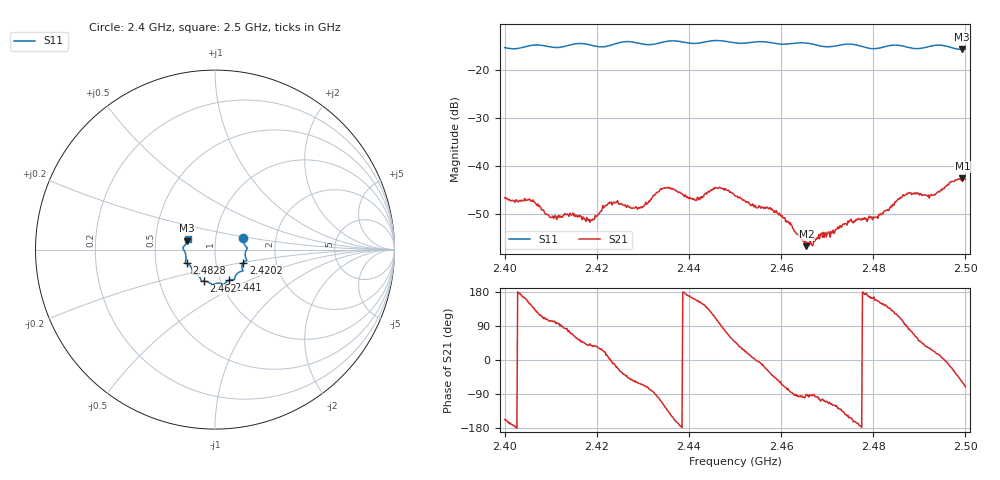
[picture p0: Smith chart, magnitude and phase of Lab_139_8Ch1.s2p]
# Hz S RI R 50
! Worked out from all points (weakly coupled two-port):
!   601 points, 2.4 GHz to 2.5 GHz, reference 50 ohm
!   highest |S21| = -42.64 dB at 2.4993 GHz (marker M1); lowest = -56.8 dB at 2.4655 GHz (marker M2)
!   lowest |S11| = -15.8 dB at 2.4992 GHz (marker M3), VSWR 1.39, Z = 36.4 + j3.7 ohm
!   |S11| at or under -10 dB: start of sweep to end of sweep
!   S12 and S22 are empty: the file has one direction only
!   S11 on the Smith chart (normalised r, x): 2.4 GHz: 1.36, +0.17; 2.4202 GHz: 1.36, -0.20; 2.441 GHz: 1.10, -0.39; 2.462 GHz: 0.83, -0.30; 2.4828 GHz: 0.72, -0.11; 2.5 GHz: 0.73, +0.09
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2.4e9  0.1581 0.0619  -0.00426 -0.0018  0 0  0 0
2.405833e9  0.1782 0.0116  -0.00352 0.00254  0 0  0 0
2.410167e9  0.1713 -0.00864  -0.000683 0.0028  0 0  0 0
2.416667e9  0.177 -0.0604  0.00191 0.00223  0 0  0 0
2.420167e9  0.1581 -0.0719  0.00248 0.00173  0 0  0 0
2.423167e9  0.1501 -0.0997  0.00416 -0.000287  0 0  0 0
2.429833e9  0.1374 -0.1238  0.00158 -0.00328  0 0  0 0
2.433333e9  0.1117 -0.151  -0.000806 -0.00526  0 0  0 0
2.435833e9  0.1093 -0.1658  -0.00457 -0.00373  0 0  0 0
2.441e9  0.0781 -0.1703  -0.00431 0.00143  0 0  0 0
2.446167e9  0.0495 -0.195  -0.0014 0.00567  0 0  0 0
2.45e9  0.0277 -0.1876  0.00324 0.00362  0 0  0 0
2.462e9  -0.061 -0.1756  0.000268 -0.00254  0 0  0 0
2.4655e9  -0.0768 -0.1727  -2.2e-05 -0.00145  0 0  0 0
2.466667e9  -0.0786 -0.1677  -7.46e-05 -0.00149  0 0  0 0
2.482833e9  -0.1572 -0.0768  -0.00278 0.00202  0 0  0 0
2.483333e9  -0.1602 -0.0754  -0.00253 0.00227  0 0  0 0
2.4875e9  -0.1621 -0.0544  0.000424 0.00517  0 0  0 0
2.492667e9  -0.1767 0.00285  0.00445 0.00224  0 0  0 0
2.499167e9  -0.1548 0.0494  0.00401 -0.00598  0 0  0 0
2.499333e9  -0.1541 0.0519  0.00384 -0.0063  0 0  0 0
2.5e9  -0.1526 0.0613  0.00237 -0.00677  0 0  0 0
